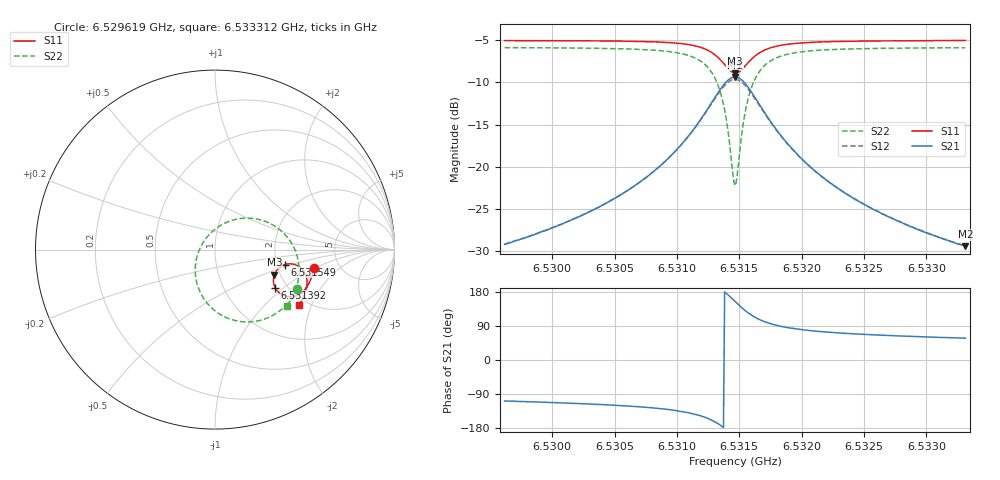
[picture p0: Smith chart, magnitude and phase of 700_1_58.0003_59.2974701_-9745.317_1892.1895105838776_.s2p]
#  HZ  S  RI  R  50.00
! Rohde & Schwarz Vector Network Analyzer
! Rohde-Schwarz,ZNB20-2Port,1311601062101988,3.16
! Created: UTC 3/21/2024, 1:21:43 AM
! freq[Hz]  re:S11  im:S11  re:S21  im:S21  re:S12  im:S12  re:S22  im:S22
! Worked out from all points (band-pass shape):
!   401 points, 6.529619 GHz to 6.533312 GHz, reference 50 ohm
!   highest |S21| = -9.35 dB at 6.531466 GHz (marker M1); lowest = -29.5 dB at 6.533312 GHz (marker M2)
!   |S21| within 3 dB of the highest: 6.531281 GHz to 6.53165 GHz (369.7 kHz wide, 0.00566 % of centre)
!   lowest |S11| = -8.9 dB at 6.531466 GHz (marker M3), VSWR 2.12, Z = 93.3 - j29.8 ohm
!   |S11| at or under -10 dB: nowhere
!   |S22| runs from -22.3 to -5.9 dB; largest |S21 - S12| = 0.015
!   S11 on the Smith chart (normalised r, x): 6.529619 GHz: 3.24, -0.96; 6.531392 GHz: 1.73, -0.87; 6.531549 GHz: 2.21, -0.44; 6.533312 GHz: 1.82, -1.64
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6.5296189e9  0.551 -0.1013  -0.0107 -0.0327  -0.0115 -0.0326  0.4586 -0.2209
6.5302375e9  0.5375 -0.1537  -0.0219 -0.0463  -0.0231 -0.0459  0.4218 -0.2791
6.5305884e9  0.5237 -0.1875  -0.0367 -0.0607  -0.0383 -0.0597  0.3835 -0.3216
6.5308562e9  0.5045 -0.218  -0.0612 -0.0785  -0.0636 -0.0766  0.3283 -0.3628
6.5310685e9  0.4739 -0.2464  -0.1066 -0.0974  -0.1096 -0.0935  0.2375 -0.3975
6.5312347e9  0.4209 -0.2628  -0.1892 -0.0988  -0.1911 -0.0904  0.0879 -0.3882
6.5313271e9  0.3705 -0.2495  -0.2666 -0.0589  -0.2637 -0.0472  -0.0376 -0.3055
6.531364e9  0.3488 -0.2315  -0.2981 -0.0218  -0.2918 -0.00995  -0.0829 -0.2365
6.5313917e9  0.3354 -0.2115  -0.3162 0.0165  -0.3069 0.0273  -0.105 -0.1693
6.5314471e9  0.3265 -0.158  -0.3197 0.1127  -0.3062 0.1179  -0.0915 -0.0113
6.5314656e9  0.3311 -0.1393  -0.3081 0.1453  -0.2945 0.1481  -0.0662 0.0394
6.531484e9  0.3396 -0.122  -0.2903 0.1749  -0.2772 0.1753  -0.0319 0.0842
6.531521e9  0.3654 -0.0951  -0.2415 0.2195  -0.2307 0.2163  0.056 0.148
6.5315487e9  0.3884 -0.0837  -0.2 0.2382  -0.1915 0.2336  0.1276 0.171
6.5315764e9  0.4113 -0.0793  -0.1597 0.2448  -0.1534 0.24  0.1955 0.175
6.5316133e9  0.4382 -0.0815  -0.1131 0.2411  -0.1091 0.2367  0.2726 0.16
6.5317056e9  0.482 -0.1055  -0.0388 0.2043  -0.0369 0.2019  0.3921 0.082
6.5318442e9  0.5069 -0.1449  0.00483 0.1493  0.00606 0.1484  0.4553 -0.0273
6.5320842e9  0.5128 -0.1922  0.0218 0.0949  0.023 0.0944  0.4679 -0.1382
6.532352e9  0.5065 -0.227  0.0233 0.0652  0.0243 0.0649  0.4555 -0.2043
6.5327029e9  0.4943 -0.261  0.0215 0.0453  0.0224 0.0449  0.4347 -0.2568
6.5333123e9  0.4696 -0.308  0.0182 0.0283  0.0187 0.0281  0.3992 -0.3145
